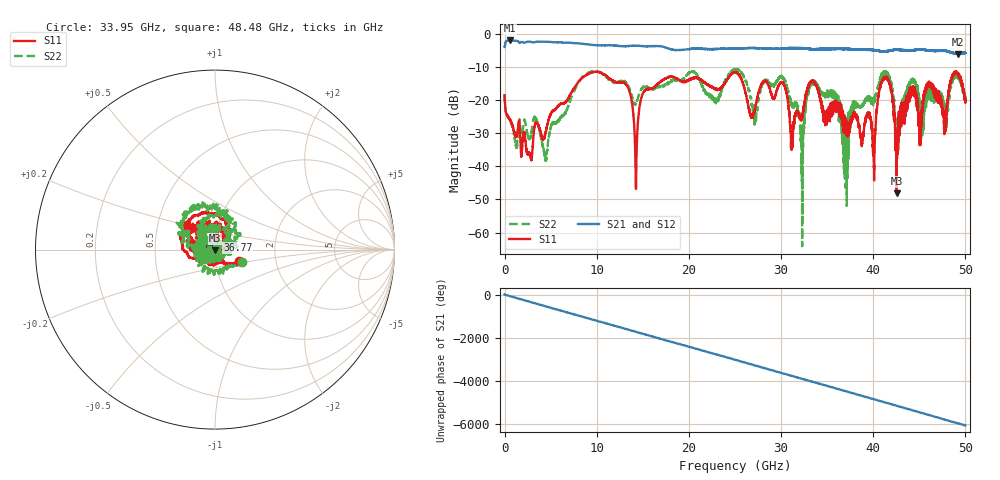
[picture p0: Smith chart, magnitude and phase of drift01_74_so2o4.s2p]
!Created with skrf (http://scikit-rf.org).
# Hz S RI R 50.0
!freq ReS11 ImS11 ReS21 ImS21 ReS12 ImS12 ReS22 ImS22
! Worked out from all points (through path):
!   10001 points, 300 kHz to 50 GHz, reference 50 ohm
!   highest |S21| = -2.00 dB at 570.3 MHz (marker M1); lowest = -6.1 dB at 49.21 GHz (marker M2)
!   group delay of S21, straight-line fit = 336 ps
!   lowest |S11| = -48.2 dB at 42.53 GHz (marker M3), VSWR 1.01, Z = 50.1 - j0.374 ohm
!   |S11| at or under -10 dB: start of sweep to end of sweep
!   |S22| runs from -64.1 to -10.6 dB; largest |S21 - S12| = 0.022
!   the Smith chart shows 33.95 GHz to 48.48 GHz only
!   S11 on the Smith chart (normalised r, x): 33.95 GHz: 1.30, -0.17; 36.77 GHz: 1.02, +0.11; 48.48 GHz: 0.71, +0.20
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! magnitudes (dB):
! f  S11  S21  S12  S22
! 300 kHz  -18.6  -4.0  -4.1  -18.2
! 570.3 MHz  -25.9  -2.0  -2.0  -26.0
! 4.445 GHz  -29.8  -2.4  -2.4  -37.8
! 8.335 GHz  -13.5  -3.0  -2.9  -13.5
! 13.17 GHz  -15.2  -3.7  -3.7  -14.6
! 14.25 GHz  -46.7  -3.6  -3.6  -21.2
! 16.67 GHz  -14.9  -3.7  -3.7  -15.9
! 25 GHz  -11.5  -4.5  -4.5  -10.8
! 27.18 GHz  -22.3  -4.3  -4.3  -26.0
! 30.22 GHz  -14.8  -4.5  -4.5  -13.3
! 31.16 GHz  -32.6  -4.3  -4.3  -21.0
! 32.28 GHz  -25.1  -4.3  -4.3  -45.2
! 33.34 GHz  -14.3  -4.6  -4.6  -14.9
! 33.95 GHz  -16.5  -4.6  -4.6  -15.6
! 36.77 GHz  -25.1  -4.5  -4.4  -27.3
! 40.04 GHz  -35.5  -4.9  -4.9  -19.8
! 41.67 GHz  -13.9  -5.0  -5.1  -13.1
! 42.53 GHz  -48.2  -4.8  -4.8  -34.0
! 44.14 GHz  -17.4  -5.0  -5.0  -14.4
! 48.48 GHz  -13.7  -5.6  -5.7  -14.6
! 49.21 GHz  -12.2  -6.1  -6.0  -13.0
! 50 GHz  -19.7  -5.8  -5.8  -19.1
